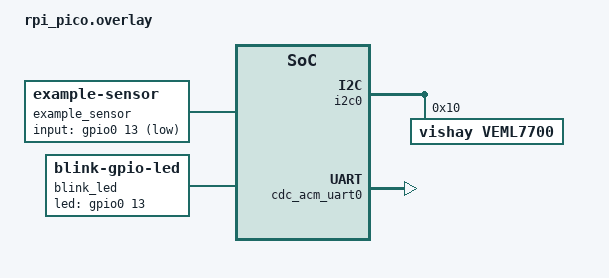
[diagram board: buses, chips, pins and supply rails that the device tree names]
/ {
	example_sensor: example-sensor {
		compatible = "zephyr,example-sensor";
		input-gpios = <&gpio0 13 (GPIO_PULL_UP | GPIO_ACTIVE_LOW)>;
	};

	blink_led: blink-led {
		compatible = "blink-gpio-led";
		led-gpios = <&gpio0 13 GPIO_ACTIVE_HIGH>;
		blink-period-ms = <1000>;
	};

    // chosen {
	// 	zephyr,console = &cdc_acm_uart0;
    //     zephyr,shell-uart = &cdc_acm_uart0;
	// };

    aliases {
        light-sensor = &veml7700;
    };

};

&i2c0 {
    status = "okay";
    veml7700:veml7700@10{
        compatible = "vishay,veml7700";
        reg = <0x10>;
    };
};

&zephyr_udc0 {
	cdc_acm_uart0: cdc_acm_uart0 {
		compatible = "zephyr,cdc-acm-uart";
	};
};

&flash0 {
	reg = <0x10000000 DT_SIZE_M(2)>;

	partitions {
		compatible = "fixed-partitions";
		#address-cells = <1>;
		#size-cells = <1>;

		/* Reserved memory for the second stage bootloader */
		// second_stage_bootloader: partition@0 {
		// 	label = "second_stage_bootloader";
		// 	reg = <0x00000000 0x100>;
		// 	read-only;
		// };

		/*
		 * Usable flash. Starts at 0x100, after the bootloader. The partition
		 * size is 2MB minus the 0x100 bytes taken by the bootloader.
		 */
		// code_partition: partition@100 {
		// 	label = "code-partition";
		// 	reg = <0x100 (DT_SIZE_M(2) - 0x100)>;
		// 	read-only;
		// };

        boot_partition: partition@0 {
            label = "mcuboot";
            reg = <0x00000000 0xc000>;
        };
        slot0_partition: partition@c000 {
            label = "image-0";
            reg = <0x0000c000 0x00100000>;
        };
        slot1_partition: partition@100000 {
            label = "image-1";
            reg = <0x00100000 0x001f4000>;
        };
        storage_partition: partition@1f4000 {
            label = "storage";
            reg = <0x001f4000 0x00200000>;
        };
	};
};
